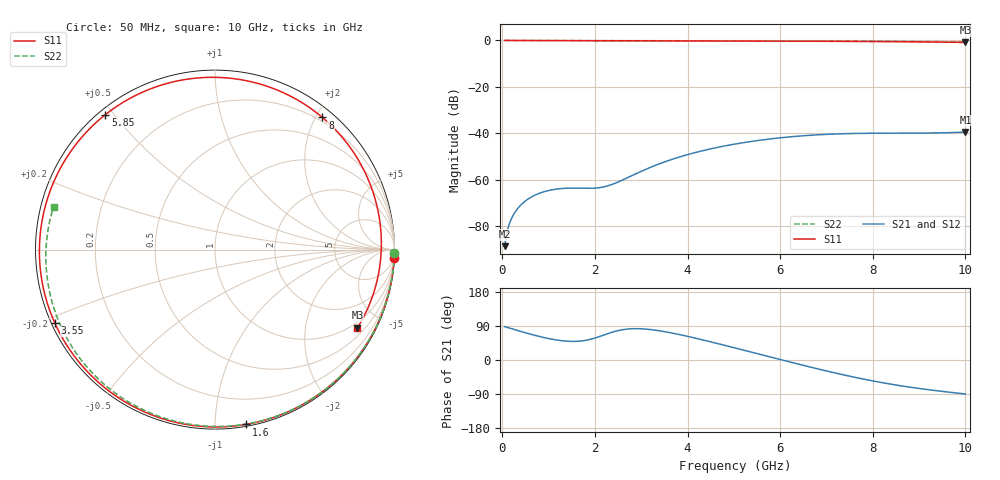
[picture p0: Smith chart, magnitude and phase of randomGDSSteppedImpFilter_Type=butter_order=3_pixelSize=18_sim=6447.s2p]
! freq	dB(S11)	phase(S11)	dB(S12)	phase(S12)
!  dB(S21)	phase(S21)	dB(S22)	phase(S22)
!S-par simulation data
#  GHz  S  DB  R 50
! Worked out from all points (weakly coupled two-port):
!   200 points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, 50 MHz to 10 GHz, reference 50 ohm
!   highest |S21| = -39.46 dB at 10 GHz (marker M1); lowest = -88.6 dB at 50 MHz (marker M2)
!   lowest |S11| = -0.9 dB at 10 GHz (marker M3), VSWR 20.12, Z = 38.8 - j188 ohm
!   |S11| at or under -10 dB: nowhere
!   |S22| runs from -0.6 to 0.0 dB; largest |S21 - S12| = 0
!   S11 on the Smith chart (normalised r, x): 50 MHz: 0, -43; 1.6 GHz: 0.01, -1.19; 3.55 GHz: 0.01, -0.22; 5.85 GHz: 0.02, +0.48; 8 GHz: 0.14, +2.09; 10 GHz: 0.78, -3.75
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0.05  -0.00 -2.7  -88.59 88.1  -88.59 88.1  -0.00 -1.1
0.15  -0.01 -8.0  -79.09 84.4  -79.09 84.4  -0.00 -3.3
0.25  -0.02 -13.3  -74.74 80.7  -74.74 80.7  -0.01 -5.5
0.4  -0.03 -21.2  -70.86 75.3  -70.86 75.3  -0.01 -8.7
0.65  -0.05 -34.1  -67.18 66.8  -67.18 66.8  -0.02 -14.1
1.15  -0.07 -59.0  -64.06 53.2  -64.06 53.2  -0.03 -24.8
1.6  -0.09 -80.0  -63.62 49.2  -63.62 49.2  -0.04 -34.4
1.75  -0.10 -86.6  -63.68 50.9  -63.68 50.9  -0.05 -37.5
2.3  -0.12 -109.6  -62.47 70.6  -62.47 70.6  -0.06 -48.9
2.85  -0.14 -130.6  -57.74 82.7  -57.74 82.7  -0.08 -60.0
3.4  -0.15 -150.2  -53.07 76.9  -53.07 76.9  -0.09 -70.9
3.55  -0.16 -155.3  -51.98 73.8  -51.98 73.8  -0.10 -73.9
4.3  -0.19 179.8  -47.60 53.9  -47.60 53.9  -0.13 -88.2
5.05  -0.23 155.4  -44.53 31.1  -44.53 31.1  -0.16 -102.2
5.85  -0.28 129.1  -42.26 6.0  -42.26 6.0  -0.20 -116.7
6.7  -0.34 99.6  -40.77 -20.1  -40.77 -20.1  -0.26 -131.9
7.35  -0.39 75.8  -40.18 -38.7  -40.18 -38.7  -0.31 -143.6
8  -0.46 50.9  -39.96 -55.2  -39.96 -55.2  -0.37 -155.5
8.35  -0.50 37.1  -39.93 -63.0  -39.93 -63.0  -0.41 -162.0
9.15  -0.64 5.1  -39.88 -77.6  -39.88 -77.6  -0.51 -177.4
9.55  -0.73 -10.9  -39.75 -83.5  -39.75 -83.5  -0.56 174.6
10  -0.86 -28.8  -39.46 -89.7  -39.46 -89.7  -0.62 165.1
